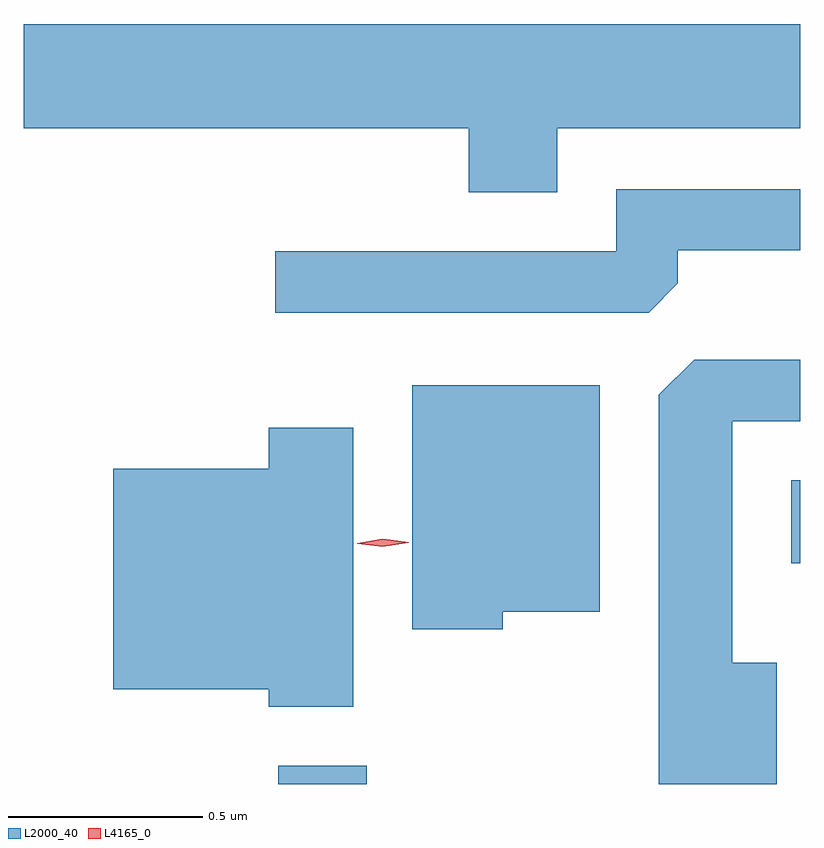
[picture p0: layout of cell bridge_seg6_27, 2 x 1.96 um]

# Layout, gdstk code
import gdstk
lib = gdstk.Library(unit=1e-6, precision=1e-09)
def R(c, l, rs):  # rectangles x0, y0, x1, y1
    for r in rs: c.add(gdstk.rectangle(r[:2], r[2:], *l))
def P(c, l, *ps):  # polygons
    for p in ps: c.add(gdstk.Polygon(p, *l))
L2000_40 = (2000, 40)
L4165_0 = (4165, 0)

bridge_seg6_27 = lib.new_cell('bridge_seg6_27')
R(bridge_seg6_27, L2000_40, [(1821.491,1666.007,1821.719,1666.054), (1822.811,1666.576,1822.835,1666.789)])
P(bridge_seg6_27, L2000_40, [(1822.209,1667.696),(1822.835,1667.696),(1822.835,1667.964),(1820.835,1667.964),(1820.835,1667.696),(1821.981,1667.696),(1821.981,1667.531),(1822.209,1667.531)],
  [(1822.519,1667.297),(1822.519,1667.381),(1822.835,1667.381),(1822.835,1667.539),(1822.361,1667.539),(1822.361,1667.379),(1821.483,1667.379),(1821.483,1667.221),(1822.444,1667.221)],
  [(1822.774,1666.319),(1822.659,1666.319),(1822.659,1666.941),(1822.835,1666.941),(1822.835,1667.099),(1822.562,1667.099),(1822.471,1667.009),(1822.471,1666.007),(1822.774,1666.007)],
  [(1822.069,1666.451),(1822.319,1666.451),(1822.319,1667.034),(1821.836,1667.034),(1821.836,1666.406),(1822.069,1666.406)],
  [(1821.684,1666.924),(1821.466,1666.924),(1821.466,1666.819),(1821.066,1666.819),(1821.066,1666.251),(1821.466,1666.251),(1821.466,1666.206),(1821.684,1666.206)])
P(bridge_seg6_27, L4165_0, [(1821.76,1666.618),(1821.694,1666.626),(1821.694,1666.627),(1821.694,1666.627),(1821.76,1666.638),(1821.826,1666.629),(1821.827,1666.629),(1821.826,1666.628)])

lib.write_gds('bridge_seg6_27.gds')
